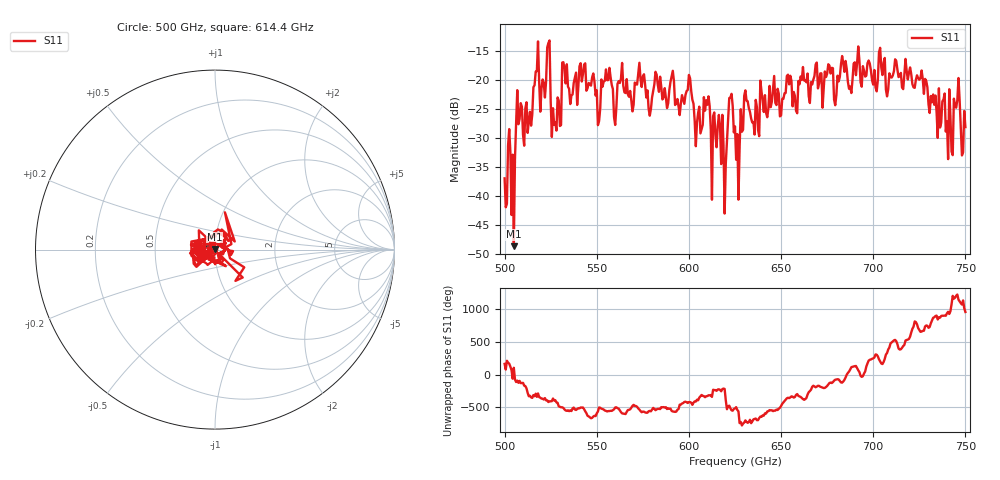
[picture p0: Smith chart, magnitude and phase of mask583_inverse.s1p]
!Created with skrf (http://scikit-rf.org).
# GHz S MA R 50.0
!freq magS11 angS11
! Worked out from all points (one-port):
!   401 points, 500 GHz to 750 GHz, reference 50 ohm
!   lowest |S11| = -48.7 dB at 505 GHz (marker M1), VSWR 1.01, Z = 49.9 + j0.349 ohm
!   |S11| at or under -10 dB: start of sweep to end of sweep
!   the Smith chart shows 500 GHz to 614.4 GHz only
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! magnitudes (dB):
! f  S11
! 500 GHz  -37.0
! 503.1 GHz  -32.4
! 505 GHz  -48.7
! 507.5 GHz  -27.7
! 513.8 GHz  -25.5
! 516.9 GHz  -18.6
! 520.6 GHz  -19.9
! 523.8 GHz  -13.6
! 526.9 GHz  -27.7
! 531.2 GHz  -17.0
! 542.5 GHz  -19.0
! 550.6 GHz  -27.8
! 562.5 GHz  -20.5
! 593.8 GHz  -23.3
! 609.4 GHz  -23.5
! 618.8 GHz  -31.1
! 622.5 GHz  -23.1
! 625 GHz  -28.0
! 626.2 GHz  -29.4
! 631.2 GHz  -23.6
! 636.9 GHz  -24.7
! 656.2 GHz  -24.6
! 676.9 GHz  -18.9
! 680 GHz  -22.6
! 683.8 GHz  -17.1
! 687.5 GHz  -21.1
! 718.8 GHz  -19.9
! 750 GHz  -28.2
